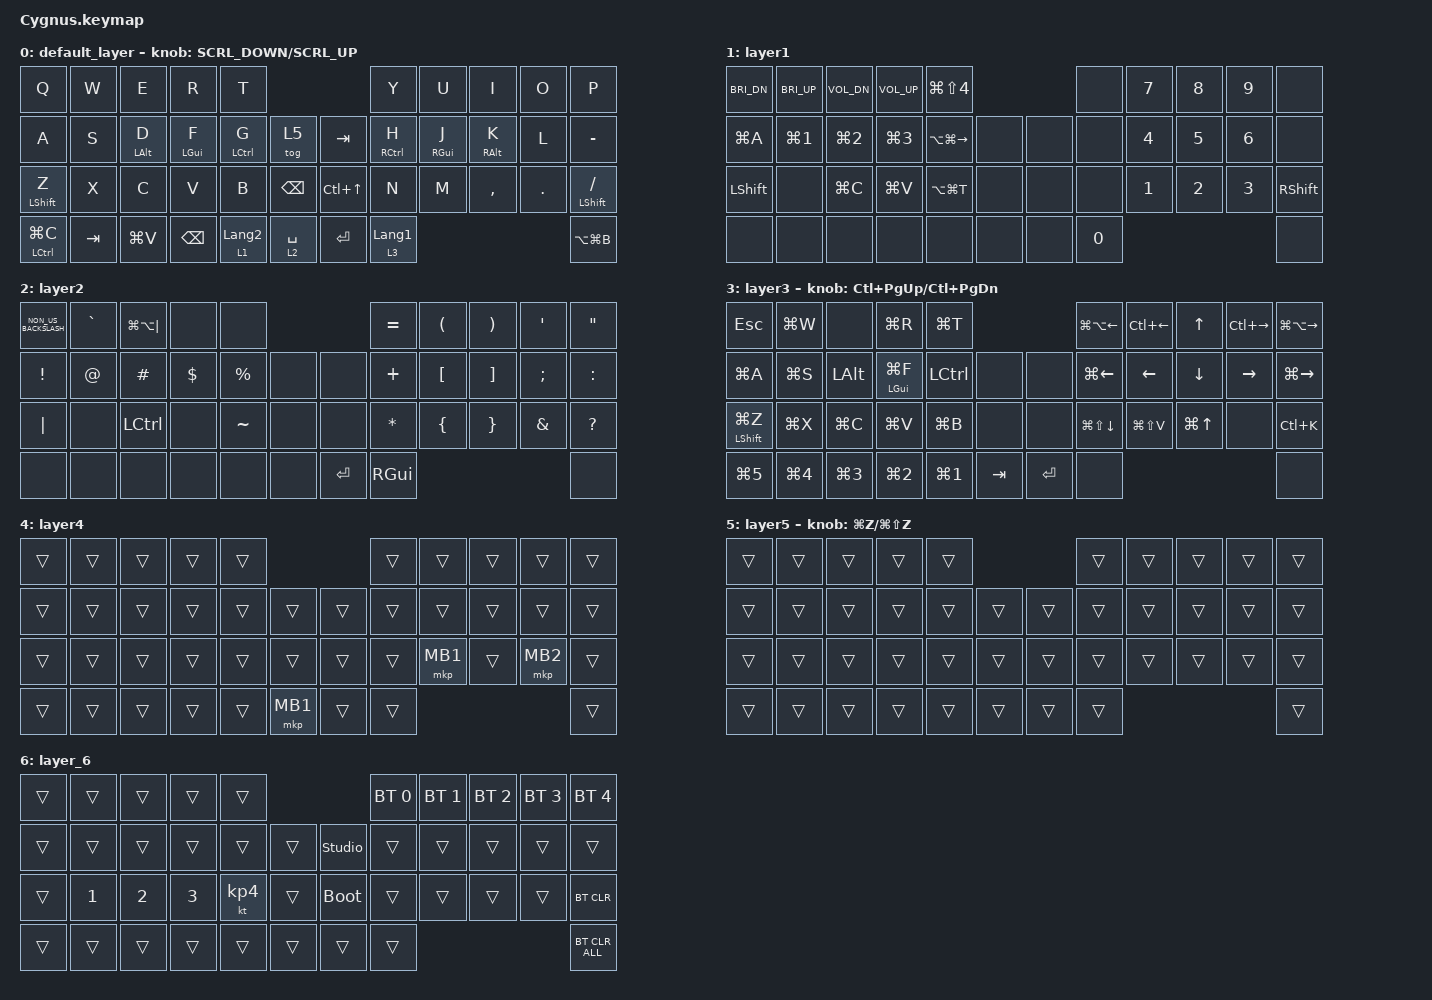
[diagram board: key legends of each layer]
#define ZMK_POINTING_DEFAULT_SCRL_VAL 120    // default: 10

#include <behaviors.dtsi>
#include <dt-bindings/zmk/bt.h>
#include <dt-bindings/zmk/keys.h>
#include <dt-bindings/zmk/pointing.h>

#define MOUSE 4
#define SCROLL 5
#define NUM 6

&mt {
    flavor = "balanced";
    quick-tap-ms = <0>;
};

/ {
    combos {
        compatible = "zmk,combos";

        scroll {
            bindings = <&tog 5>;
            key-positions = <20 19>;
        };

        chatgpt {
            bindings = <&kp LA(J)>;
            key-positions = <24 25>;
        };

        command_enter {
            bindings = <&kp LG(ENTER)>;
            key-positions = <26 25>;
        };

        enter {
            bindings = <&kp ENTER>;
            key-positions = <3 4>;
        };
    };

    macros {
        to_layer_0: to_layer_0 {
            compatible = "zmk,behavior-macro-one-param";
            #binding-cells = <1>;
            bindings = <&to 0 &macro_param_1to1 &kp MACRO_PLACEHOLDER>;
            label = "TO_LAYER_0";
        };
    };

    behaviors {
        lt_to_layer_0: lt_to_layer_0 {
            compatible = "zmk,behavior-hold-tap";
            label = "LAYER_TAP_TO_0";
            bindings = <&mo>, <&to_layer_0>;

            #binding-cells = <2>;
            tapping-term-ms = <200>;
        };

        ROTATE: ROTATE {
            compatible = "zmk,behavior-sensor-rotate-var";
            label = "ROTATE";
            #sensor-binding-cells = <2>;
            bindings = <&msc>, <&msc>;

            tap-ms = <20>;
        };
    };

    keymap {
        compatible = "zmk,keymap";

        default_layer {
            bindings = <
&kp Q                   &kp W    &kp E           &kp R           &kp T                                            &kp Y             &kp U            &kp I            &kp O    &kp P
&kp A                   &kp S    &mt LEFT_ALT D  &mt LEFT_GUI F  &mt LCTRL G       &tog 5             &kp TAB     &mt RCTRL H       &mt RIGHT_GUI J  &mt RIGHT_ALT K  &kp L    &kp MINUS
&mt LEFT_SHIFT Z        &kp X    &kp C           &kp V           &kp B             &kp BACKSPACE      &kp LC(UP)  &kp N             &kp M            &kp COMMA        &kp DOT  &mt LEFT_SHIFT SLASH
&mt LEFT_CONTROL LG(C)  &kp TAB  &kp LG(V)       &kp BACKSPACE   &lt 1 LANGUAGE_2  &lt 2 SPACE        &kp ENTER   &lt 3 LANGUAGE_1                                             &kp LA(LG(B))
            >;

            sensor-bindings = <&ROTATE SCRL_DOWN SCRL_UP>;
        };

        layer1 {
            bindings = <
&kp C_BRI_DN    &kp C_BRI_UP      &kp C_VOL_DN      &kp C_VOL_UP      &kp LG(LS(NUMBER_4))                    &none         &kp NUMBER_7  &kp NUMBER_8  &kp NUMBER_9  &none
&kp LG(A)       &kp LG(NUMBER_1)  &kp LG(NUMBER_2)  &kp LG(NUMBER_3)  &kp LA(LG(RIGHT))     &none      &none  &none         &kp NUMBER_4  &kp NUMBER_5  &kp NUMBER_6  &none
&kp LEFT_SHIFT  &none             &kp LG(C)         &kp LG(V)         &kp LA(LG(T))         &none      &none  &none         &kp NUMBER_1  &kp NUMBER_2  &kp NUMBER_3  &kp RIGHT_SHIFT
&none           &none             &none             &none             &none                 &none      &none  &kp NUMBER_0                                            &none
            >;
        };

        layer2 {
            bindings = <
&kp NON_US_BACKSLASH  &kp GRAVE    &kp LG(LA(PIPE))  &none       &none                              &kp EQUAL      &kp LEFT_PARENTHESIS  &kp RIGHT_PARENTHESIS  &kp SQT        &kp DOUBLE_QUOTES
&kp EXCLAMATION       &kp AT_SIGN  &kp HASH          &kp DOLLAR  &kp PERCENT  &none      &none      &kp PLUS       &kp LEFT_BRACKET      &kp RIGHT_BRACKET      &kp SEMICOLON  &kp COLON
&kp PIPE              &none        &kp LCTRL         &none       &kp TILDE    &none      &none      &kp ASTERISK   &kp LEFT_BRACE        &kp RIGHT_BRACE        &kp AMPERSAND  &kp QUESTION
&none                 &none        &none             &none       &none        &none      &kp ENTER  &kp RIGHT_GUI                                                              &none
            >;
        };

        layer3 {
            bindings = <
&kp ESCAPE            &kp LG(W)         &none             &kp LG(R)           &kp LG(T)                                 &kp LG(LA(LEFT))    &kp LC(LEFT_ARROW)  &kp UP_ARROW      &kp LC(RIGHT_ARROW)  &kp LG(LA(RIGHT))
&kp LG(A)             &kp LG(S)         &kp LEFT_ALT      &mt LEFT_GUI LG(F)  &kp LCTRL         &none        &none      &kp LG(LEFT_ARROW)  &kp LEFT_ARROW      &kp DOWN_ARROW    &kp RIGHT            &kp LG(RIGHT)
&mt LEFT_SHIFT LG(Z)  &kp LG(X)         &kp LG(C)         &kp LG(V)           &kp LG(B)         &none        &none      &kp LG(LS(DOWN))    &kp LG(LS(V))       &kp LG(UP_ARROW)  &none                &kp LC(K)
&kp LG(NUMBER_5)      &kp LG(NUMBER_4)  &kp LG(NUMBER_3)  &kp LG(NUMBER_2)    &kp LG(NUMBER_1)  &kp TAB      &kp ENTER  &none                                                                          &none
            >;

            sensor-bindings = <&inc_dec_kp LC(PAGE_UP) LC(PAGE_DOWN)>;
        };

        layer4 {
            bindings = <
&trans  &trans  &trans  &trans  &trans                        &trans  &trans    &trans  &trans    &trans
&trans  &trans  &trans  &trans  &trans  &trans        &trans  &trans  &trans    &trans  &trans    &trans
&trans  &trans  &trans  &trans  &trans  &trans        &trans  &trans  &mkp MB1  &trans  &mkp MB2  &trans
&trans  &trans  &trans  &trans  &trans  &mkp MB1      &trans  &trans                              &trans
            >;
        };

        layer5 {
            bindings = <
&trans  &trans  &trans  &trans  &trans                      &trans  &trans  &trans  &trans  &trans
&trans  &trans  &trans  &trans  &trans  &trans      &trans  &trans  &trans  &trans  &trans  &trans
&trans  &trans  &trans  &trans  &trans  &trans      &trans  &trans  &trans  &trans  &trans  &trans
&trans  &trans  &trans  &trans  &trans  &trans      &trans  &trans                          &trans
            >;

            sensor-bindings = <&inc_dec_kp LG(Z) LG(LS(Z))>;
        };

        layer_6 {
            bindings = <
&trans  &trans        &trans        &trans        &trans                                 &bt BT_SEL 0  &bt BT_SEL 1  &bt BT_SEL 2  &bt BT_SEL 3  &bt BT_SEL 4
&trans  &trans        &trans        &trans        &trans     &trans      &studio_unlock  &trans        &trans        &trans        &trans        &trans
&trans  &kp NUMBER_1  &kp NUMBER_2  &kp NUMBER_3  &kt KP_N4  &trans      &bootloader     &trans        &trans        &trans        &trans        &bt BT_CLR
&trans  &trans        &trans        &trans        &trans     &trans      &trans          &trans                                                  &bt BT_CLR_ALL
            >;
        };
    };
};
